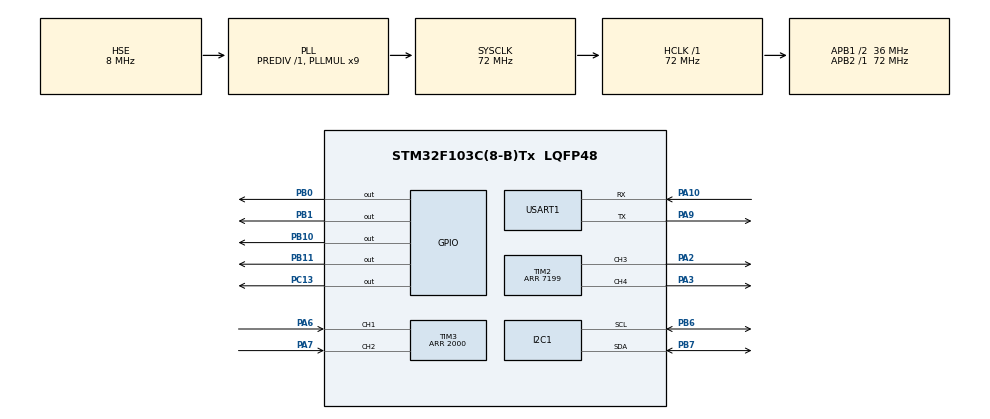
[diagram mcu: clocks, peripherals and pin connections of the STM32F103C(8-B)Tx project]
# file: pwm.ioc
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I2C1.I2C_Mode=I2C_Fast
Mcu.Family=STM32F1
Mcu.Name=STM32F103C(8-B)Tx
Mcu.Package=LQFP48
NVIC.PriorityGroup=NVIC_PRIORITYGROUP_4
NVIC.TIM1_UP_IRQn=true\:0\:0\:false\:false\:true\:true\:true
NVIC.USART1_IRQn=true\:0\:0\:false\:false\:true\:true\:true
PA10.Mode=Asynchronous
PA10.Signal=USART1_RX
PA13.Mode=Serial_Wire
PA13.Signal=SYS_JTMS-SWDIO
PA14.Mode=Serial_Wire
PA14.Signal=SYS_JTCK-SWCLK
PA2.Signal=S_TIM2_CH3
PA3.Signal=S_TIM2_CH4
PA6.Signal=S_TIM3_CH1
PA7.Signal=S_TIM3_CH2
PA9.Mode=Asynchronous
PA9.Signal=USART1_TX
PB0.Signal=GPIO_Output
PB1.Signal=GPIO_Output
PB10.Signal=GPIO_Output
PB11.Signal=GPIO_Output
PB6.Mode=I2C
PB6.Signal=I2C1_SCL
PB7.Mode=I2C
PB7.Signal=I2C1_SDA
PC13-TAMPER-RTC.Signal=GPIO_Output
PD0-OSC_IN.Mode=HSE-External-Oscillator
PD0-OSC_IN.Signal=RCC_OSC_IN
PD1-OSC_OUT.Mode=HSE-External-Oscillator
PD1-OSC_OUT.Signal=RCC_OSC_OUT
ProjectManager.HeapSize=0x200
ProjectManager.StackSize=0x400
ProjectManager.TargetToolchain=STM32CubeIDE
RCC.AHBFreq_Value=72000000
RCC.APB1CLKDivider=RCC_HCLK_DIV2
RCC.APB1Freq_Value=36000000
RCC.APB1TimFreq_Value=72000000
RCC.APB2Freq_Value=72000000
RCC.APB2TimFreq_Value=72000000
RCC.HCLKFreq_Value=72000000
RCC.PLLMUL=RCC_PLL_MUL9
RCC.PLLSourceVirtual=RCC_PLLSOURCE_HSE
RCC.SYSCLKFreq_VALUE=72000000
RCC.SYSCLKSource=RCC_SYSCLKSOURCE_PLLCLK
RCC.USBFreq_Value=72000000
SH.S_TIM2_CH3.0=TIM2_CH3,PWM Generation3 CH3
SH.S_TIM2_CH4.0=TIM2_CH4,PWM Generation4 CH4
SH.S_TIM3_CH1.0=TIM3_CH1,Encoder_Interface
SH.S_TIM3_CH2.0=TIM3_CH2,Encoder_Interface
TIM1.Period=1000
TIM1.Prescaler=719
TIM2.Channel-PWM\ Generation3\ CH3=TIM_CHANNEL_3
TIM2.Channel-PWM\ Generation4\ CH4=TIM_CHANNEL_4
TIM2.OCFastMode_PWM-PWM\ Generation3\ CH3=TIM_OCFAST_ENABLE
TIM2.OCFastMode_PWM-PWM\ Generation4\ CH4=TIM_OCFAST_ENABLE
TIM2.Period=7199
TIM2.Pulse-PWM\ Generation3\ CH3=6000
TIM2.Pulse-PWM\ Generation4\ CH4=5999
TIM3.Period=2000
USART1.VirtualMode=VM_ASYNC
VP_TIM1_VS_ClockSourceINT.Mode=Internal
board=custom

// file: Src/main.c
/* USER CODE BEGIN Header */
/**
  ******************************************************************************
  * @file           : main.c
  * @brief          : Main program body
  ******************************************************************************
  * @attention
  *
  * <h2><center>&copy; Copyright (c) 2019 STMicroelectronics.
  * All rights reserved.</center></h2>
  *
  * This software component is licensed by ST under BSD 3-Clause license,
  * the "License"; You may not use this file except in compliance with the
  * License. You may obtain a copy of the License at:
  *                        opensource.org/licenses/BSD-3-Clause
  *
  ******************************************************************************
  */
/* USER CODE END Header */

#include "main.h"

/* USER CODE BEGIN Includes */
#include "mpu6050.h"
#include "PID.h"
/* USER CODE END Includes */

char mode;
char buffer[4];
char msg[20];
int pid_data[9];
volatile int i = 0;

I2C_HandleTypeDef hi2c1;

TIM_HandleTypeDef htim1;
TIM_HandleTypeDef htim2;
TIM_HandleTypeDef htim3;

UART_HandleTypeDef huart1;

void SystemClock_Config(void);
static void MX_GPIO_Init(void);
static void MX_TIM2_Init(void);
static void MX_TIM3_Init(void);
static void MX_USART1_UART_Init(void);
static void MX_I2C1_Init(void);
static void MX_TIM1_Init(void);

/* USER CODE BEGIN 0 */

    void HAL_UART_RxCpltCallback(UART_HandleTypeDef *huart)
    {
    	if (huart->Instance == USART1)  //current UART
    	{
              HAL_UART_Receive_IT(&huart1, &mode, 1);   //activate UART receive interrupt every time
    	}
    }

	void PWM_Control_1(int duty){

		if(duty > 0){

		  HAL_GPIO_WritePin(GPIOB,GPIO_PIN_10,GPIO_PIN_SET);
		  HAL_GPIO_WritePin(GPIOB,GPIO_PIN_11,GPIO_PIN_RESET);

		}
		else{
		  duty = -duty;
		  HAL_GPIO_WritePin(GPIOB,GPIO_PIN_10,GPIO_PIN_RESET);
		  HAL_GPIO_WritePin(GPIOB,GPIO_PIN_11,GPIO_PIN_SET);
		}

		  __HAL_TIM_SET_COMPARE(&htim2, TIM_CHANNEL_3, duty);

	}

	void PWM_Control_2(int duty){
		if(duty > 0){
			  HAL_GPIO_WritePin(GPIOB,GPIO_PIN_1,GPIO_PIN_RESET);
			  HAL_GPIO_WritePin(GPIOB,GPIO_PIN_0,GPIO_PIN_SET);

		}
		else{
	      duty = -duty;
		  HAL_GPIO_WritePin(GPIOB,GPIO_PIN_1,GPIO_PIN_SET);
		  HAL_GPIO_WritePin(GPIOB,GPIO_PIN_0,GPIO_PIN_RESET);
		}

		__HAL_TIM_SET_COMPARE(&htim2, TIM_CHANNEL_4, duty);

	}

	  void HAL_TIM_PeriodElapsedCallback(TIM_HandleTypeDef *htim)
	  {
	      if (__HAL_TIM_GET_IT_SOURCE(&htim1,TIM_IT_UPDATE)) {
	    	 // pre_com_angle = com_angle; // đạo hàm, lúc trước khi lấy mẫu cái hiện tại đã thành cái mới
	    	  process_MPU();

	    	  duty = PID(0,com_angle);
	    	  duty_1 = PID_1(0,com_angle);
	      }
	  }
/* USER CODE END 0 */

int main(void)
{

  /* MCU Configuration--------------------------------------------------------*/

  /* Reset of all peripherals, Initializes the Flash interface and the Systick. */
  HAL_Init();

  /* Configure the system clock */
  SystemClock_Config();

  /* Initialize all configured peripherals */
  MX_GPIO_Init();
  MX_TIM2_Init();
  MX_TIM3_Init();
  MX_USART1_UART_Init();
  MX_I2C1_Init();
  MX_TIM1_Init();

  /* Infinite loop */
  /* USER CODE BEGIN WHILE */
  HAL_TIM_PWM_Start(&htim2,TIM_CHANNEL_3);
  HAL_TIM_PWM_Start(&htim2,TIM_CHANNEL_4);

  init_MPU();
    /* USER CODE END WHILE */
  while(1){
    /* USER CODE BEGIN 3 */
	HAL_UART_Receive_IT(&huart1, &mode, 1);
    if(mode == 's'){
    	HAL_TIM_Base_Start_IT(&htim1);

	    PWM_Control_1(duty);
	    PWM_Control_2(duty_1);

     }
     if(mode == 'c'){
	     calib_MPU();
     }
     if(mode == 'p'){
    	 HAL_UART_DeInit(&huart1);
    	 MX_USART1_UART_Init();
    	 strcpy(msg,"enter pid tune");
    	 HAL_UART_Transmit(&huart1, (uint8_t *)&msg, 25, 100);
    		 while(i<9){
    	        if(HAL_UART_Receive(&huart1, &buffer, 4, 1000) == HAL_OK){
    	         pid_data[i] = atoi(buffer);
    	         i++;
    	       }
    	        Kp = (float)pid_data[1]/100.0;
    	        Ki = (float)pid_data[2]/100.0;
    	        Kd = (float)pid_data[3]/100.0;

    	        Kp1 = (float)pid_data[4]/100.0;
    	        Ki1 = (float)pid_data[5]/100.0;
    	        Kd1 = (float)pid_data[6]/100.0;

    	        motor = pid_data[7];
    	        motor_1 = pid_data[8];
    	 }
    		 i = 0;
    		 mode = ' ';
             HAL_UART_Receive_IT(&huart1, &mode, 1);
        }
        if(mode == 'd'){
               HAL_UART_Receive_IT(&huart1, &mode, 1);
               mode = ' ';
               HAL_TIM_Base_Stop_IT(&htim1);
       	       PWM_Control_1(0);
       	       PWM_Control_2(0);
        }

  }
  /* USER CODE END 3 */
}

void SystemClock_Config(void)
{
  RCC_OscInitTypeDef RCC_OscInitStruct = {0};
  RCC_ClkInitTypeDef RCC_ClkInitStruct = {0};

  /** Initializes the CPU, AHB and APB busses clocks
  */
  RCC_OscInitStruct.OscillatorType = RCC_OSCILLATORTYPE_HSE;
  RCC_OscInitStruct.HSEState = RCC_HSE_ON;
  RCC_OscInitStruct.HSEPredivValue = RCC_HSE_PREDIV_DIV1;
  RCC_OscInitStruct.HSIState = RCC_HSI_ON;
  RCC_OscInitStruct.PLL.PLLState = RCC_PLL_ON;
  RCC_OscInitStruct.PLL.PLLSource = RCC_PLLSOURCE_HSE;
  RCC_OscInitStruct.PLL.PLLMUL = RCC_PLL_MUL9;
  if (HAL_RCC_OscConfig(&RCC_OscInitStruct) != HAL_OK)
  {
    Error_Handler();
  }
  /** Initializes the CPU, AHB and APB busses clocks
  */
  RCC_ClkInitStruct.ClockType = RCC_CLOCKTYPE_HCLK|RCC_CLOCKTYPE_SYSCLK
                              |RCC_CLOCKTYPE_PCLK1|RCC_CLOCKTYPE_PCLK2;
  RCC_ClkInitStruct.SYSCLKSource = RCC_SYSCLKSOURCE_PLLCLK;
  RCC_ClkInitStruct.AHBCLKDivider = RCC_SYSCLK_DIV1;
  RCC_ClkInitStruct.APB1CLKDivider = RCC_HCLK_DIV2;
  RCC_ClkInitStruct.APB2CLKDivider = RCC_HCLK_DIV1;

  if (HAL_RCC_ClockConfig(&RCC_ClkInitStruct, FLASH_LATENCY_2) != HAL_OK)
  {
    Error_Handler();
  }
}

static void MX_I2C1_Init(void)
{

  hi2c1.Instance = I2C1;
  hi2c1.Init.ClockSpeed = 400000;
  hi2c1.Init.DutyCycle = I2C_DUTYCYCLE_2;
  hi2c1.Init.OwnAddress1 = 0;
  hi2c1.Init.AddressingMode = I2C_ADDRESSINGMODE_7BIT;
  hi2c1.Init.DualAddressMode = I2C_DUALADDRESS_DISABLE;
  hi2c1.Init.OwnAddress2 = 0;
  hi2c1.Init.GeneralCallMode = I2C_GENERALCALL_DISABLE;
  hi2c1.Init.NoStretchMode = I2C_NOSTRETCH_DISABLE;
  if (HAL_I2C_Init(&hi2c1) != HAL_OK)
  {
    Error_Handler();
  }

}

static void MX_TIM1_Init(void)
{

  TIM_ClockConfigTypeDef sClockSourceConfig = {0};
  TIM_MasterConfigTypeDef sMasterConfig = {0};

  htim1.Instance = TIM1;
  htim1.Init.Prescaler = 719;
  htim1.Init.CounterMode = TIM_COUNTERMODE_UP;
  htim1.Init.Period = 1000;
  htim1.Init.ClockDivision = TIM_CLOCKDIVISION_DIV1;
  htim1.Init.RepetitionCounter = 0;
  htim1.Init.AutoReloadPreload = TIM_AUTORELOAD_PRELOAD_DISABLE;
  if (HAL_TIM_Base_Init(&htim1) != HAL_OK)
  {
    Error_Handler();
  }
  sClockSourceConfig.ClockSource = TIM_CLOCKSOURCE_INTERNAL;
  if (HAL_TIM_ConfigClockSource(&htim1, &sClockSourceConfig) != HAL_OK)
  {
    Error_Handler();
  }
  sMasterConfig.MasterOutputTrigger = TIM_TRGO_RESET;
  sMasterConfig.MasterSlaveMode = TIM_MASTERSLAVEMODE_DISABLE;
  if (HAL_TIMEx_MasterConfigSynchronization(&htim1, &sMasterConfig) != HAL_OK)
  {
    Error_Handler();
  }

}

static void MX_TIM2_Init(void)
{

  TIM_MasterConfigTypeDef sMasterConfig = {0};
  TIM_OC_InitTypeDef sConfigOC = {0};

  htim2.Instance = TIM2;
  htim2.Init.Prescaler = 3;
  htim2.Init.CounterMode = TIM_COUNTERMODE_UP;
  htim2.Init.Period = 1000;
  htim2.Init.ClockDivision = TIM_CLOCKDIVISION_DIV1;
  htim2.Init.AutoReloadPreload = TIM_AUTORELOAD_PRELOAD_DISABLE;
  if (HAL_TIM_PWM_Init(&htim2) != HAL_OK)
  {
    Error_Handler();
  }
  sMasterConfig.MasterOutputTrigger = TIM_TRGO_RESET;
  sMasterConfig.MasterSlaveMode = TIM_MASTERSLAVEMODE_DISABLE;
  if (HAL_TIMEx_MasterConfigSynchronization(&htim2, &sMasterConfig) != HAL_OK)
  {
    Error_Handler();
  }
  sConfigOC.OCMode = TIM_OCMODE_PWM1;
  sConfigOC.Pulse = 6000;
  sConfigOC.OCPolarity = TIM_OCPOLARITY_HIGH;
  sConfigOC.OCFastMode = TIM_OCFAST_ENABLE;
  if (HAL_TIM_PWM_ConfigChannel(&htim2, &sConfigOC, TIM_CHANNEL_3) != HAL_OK)
  {
    Error_Handler();
  }
  sConfigOC.Pulse = 5999;
  if (HAL_TIM_PWM_ConfigChannel(&htim2, &sConfigOC, TIM_CHANNEL_4) != HAL_OK)
  {
    Error_Handler();
  }
  HAL_TIM_MspPostInit(&htim2);

}

static void MX_TIM3_Init(void)
{

  TIM_Encoder_InitTypeDef sConfig = {0};
  TIM_MasterConfigTypeDef sMasterConfig = {0};

  htim3.Instance = TIM3;
  htim3.Init.Prescaler = 0;
  htim3.Init.CounterMode = TIM_COUNTERMODE_UP;
  htim3.Init.Period = 2000;
  htim3.Init.ClockDivision = TIM_CLOCKDIVISION_DIV1;
  htim3.Init.AutoReloadPreload = TIM_AUTORELOAD_PRELOAD_DISABLE;
  sConfig.EncoderMode = TIM_ENCODERMODE_TI1;
  sConfig.IC1Polarity = TIM_ICPOLARITY_RISING;
  sConfig.IC1Selection = TIM_ICSELECTION_DIRECTTI;
  sConfig.IC1Prescaler = TIM_ICPSC_DIV1;
  sConfig.IC1Filter = 0;
  sConfig.IC2Polarity = TIM_ICPOLARITY_RISING;
  sConfig.IC2Selection = TIM_ICSELECTION_DIRECTTI;
  sConfig.IC2Prescaler = TIM_ICPSC_DIV1;
  sConfig.IC2Filter = 0;
  if (HAL_TIM_Encoder_Init(&htim3, &sConfig) != HAL_OK)
  {
    Error_Handler();
  }
  sMasterConfig.MasterOutputTrigger = TIM_TRGO_RESET;
  sMasterConfig.MasterSlaveMode = TIM_MASTERSLAVEMODE_DISABLE;
  if (HAL_TIMEx_MasterConfigSynchronization(&htim3, &sMasterConfig) != HAL_OK)
  {
    Error_Handler();
  }

}

static void MX_USART1_UART_Init(void)
{

  huart1.Instance = USART1;
  huart1.Init.BaudRate = 115200;
  huart1.Init.WordLength = UART_WORDLENGTH_8B;
  huart1.Init.StopBits = UART_STOPBITS_1;
  huart1.Init.Parity = UART_PARITY_NONE;
  huart1.Init.Mode = UART_MODE_TX_RX;
  huart1.Init.HwFlowCtl = UART_HWCONTROL_NONE;
  huart1.Init.OverSampling = UART_OVERSAMPLING_16;
  if (HAL_UART_Init(&huart1) != HAL_OK)
  {
    Error_Handler();
  }

}

static void MX_GPIO_Init(void)
{
  GPIO_InitTypeDef GPIO_InitStruct = {0};

  /* GPIO Ports Clock Enable */
  __HAL_RCC_GPIOC_CLK_ENABLE();
  __HAL_RCC_GPIOD_CLK_ENABLE();
  __HAL_RCC_GPIOA_CLK_ENABLE();
  __HAL_RCC_GPIOB_CLK_ENABLE();

  /*Configure GPIO pin Output Level */
  HAL_GPIO_WritePin(GPIOC, GPIO_PIN_13, GPIO_PIN_RESET);

  /*Configure GPIO pin Output Level */
  HAL_GPIO_WritePin(GPIOB, GPIO_PIN_0|GPIO_PIN_1|GPIO_PIN_10|GPIO_PIN_11, GPIO_PIN_RESET);

  /*Configure GPIO pin : PC13 */
  GPIO_InitStruct.Pin = GPIO_PIN_13;
  GPIO_InitStruct.Mode = GPIO_MODE_OUTPUT_PP;
  GPIO_InitStruct.Pull = GPIO_NOPULL;
  GPIO_InitStruct.Speed = GPIO_SPEED_FREQ_LOW;
  HAL_GPIO_Init(GPIOC, &GPIO_InitStruct);

  /*Configure GPIO pins : PB0 PB1 PB10 PB11 */
  GPIO_InitStruct.Pin = GPIO_PIN_0|GPIO_PIN_1|GPIO_PIN_10|GPIO_PIN_11;
  GPIO_InitStruct.Mode = GPIO_MODE_OUTPUT_PP;
  GPIO_InitStruct.Pull = GPIO_NOPULL;
  GPIO_InitStruct.Speed = GPIO_SPEED_FREQ_LOW;
  HAL_GPIO_Init(GPIOB, &GPIO_InitStruct);

}

void Error_Handler(void)
{
}

/************************ (C) COPYRIGHT STMicroelectronics *****END OF FILE****/
